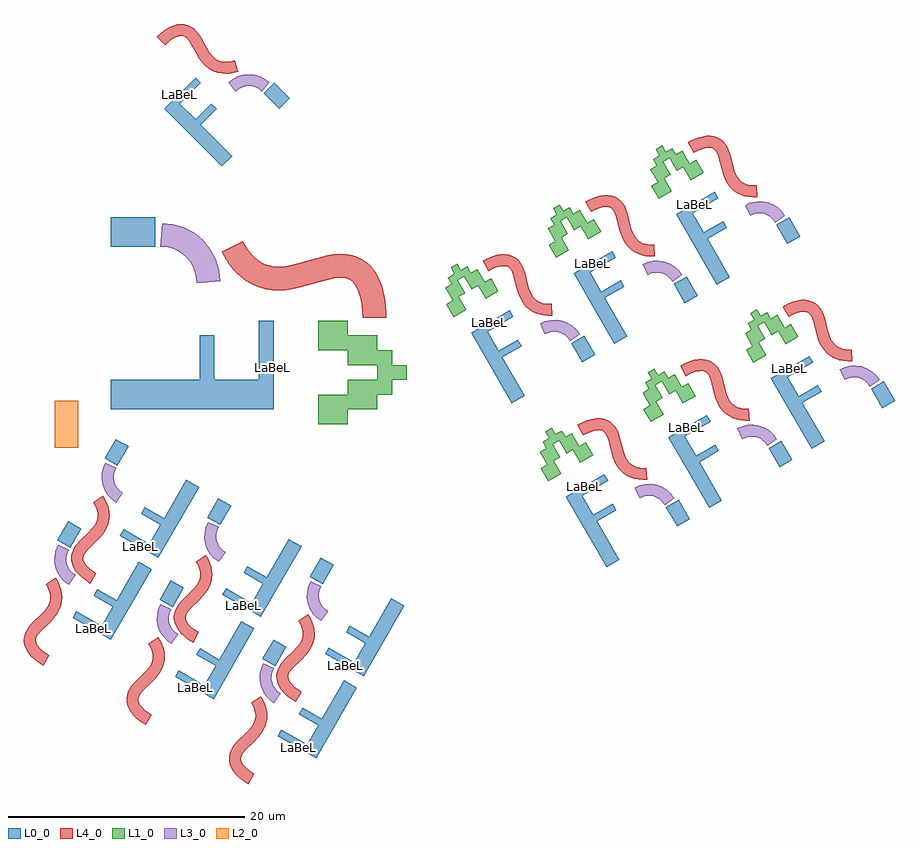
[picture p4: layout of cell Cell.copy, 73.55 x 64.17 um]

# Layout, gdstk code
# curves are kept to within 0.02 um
import gdstk
lib = gdstk.Library(unit=1e-6, precision=1e-12)
def R(c, l, rs):  # rectangles x0, y0, x1, y1
    for r in rs: c.add(gdstk.rectangle(r[:2], r[2:], *l))
def P(c, l, *ps):  # polygons
    for p in ps: c.add(gdstk.Polygon(p, *l))
L0_0 = (0, 0)
L1_0 = (1, 0)
L2_0 = (2, 0)
L3_0 = (3, 0)
L4_0 = (4, 0)

cell_copy = lib.new_cell('Cell.copy')
R(cell_copy, L0_0, [(-6.25,5,-2.5,7.5)])
P(cell_copy, L0_0, [(-6.25,-6.25),(1.25,-6.25),(1.25,-2.5),(2.5,-2.5),(2.5,-6.25),(6.25,-6.25),(6.25,-1.25),(7.5,-1.25),(7.5,-8.75),(-6.25,-8.75)],
  [(36.6863,-21.4387),(34.8113,-18.1911),(36.4351,-17.2536),(36.1226,-16.7123),(34.4988,-17.6498),(33.5613,-16.026),(35.7264,-14.776),(35.4139,-14.2348),(32.1663,-16.1098),(35.6038,-22.0637)],
  [(28.6863,-7.5823),(26.8113,-4.3347),(28.4351,-3.3972),(28.1226,-2.8559),(26.4988,-3.7934),(25.5613,-2.1696),(27.7264,-0.9196),(27.4139,-0.3784),(24.1663,-2.2534),(27.6038,-8.2073)],
  [(45.3466,-16.4387),(43.4716,-13.1911),(45.0953,-12.2536),(44.7828,-11.7123),(43.1591,-12.6498),(42.2216,-11.026),(44.3866,-9.776),(44.0741,-9.2348),(40.8265,-11.1098),(44.264,-17.0637)],
  [(37.3466,-2.5823),(35.4716,0.6653),(37.0953,1.6028),(36.7828,2.1441),(35.1591,1.2066),(34.2216,2.8304),(36.3866,4.0804),(36.0741,4.6216),(32.8265,2.7466),(36.264,-3.2073)],
  [(54.0068,-11.4387),(52.1318,-8.1911),(53.7556,-7.2536),(53.4431,-6.7123),(51.8193,-7.6498),(50.8818,-6.026),(53.0469,-4.776),(52.7344,-4.2348),(49.4868,-6.1098),(52.9243,-12.0637)],
  [(46.0068,2.4177),(44.1318,5.6653),(45.7556,6.6028),(45.4431,7.1441),(43.8193,6.2066),(42.8818,7.8304),(45.0469,9.0804),(44.7344,9.6216),(41.4868,7.7466),(44.9243,1.7927)],
  [(42.6402,-18.0012),(41.7027,-16.3774),(40.6202,-17.0024),(41.5577,-18.6262)],
  [(34.6402,-4.1448),(33.7027,-2.521),(32.6202,-3.146),(33.5577,-4.7698)],
  [(51.3005,-13.0012),(50.363,-11.3774),(49.2804,-12.0024),(50.2179,-13.6262)],
  [(43.3005,0.8552),(42.363,2.479),(41.2804,1.854),(42.2179,0.2302)],
  [(59.9607,-8.0012),(59.0232,-6.3774),(57.9407,-7.0024),(58.8782,-8.6262)],
  [(51.9607,5.8552),(51.0232,7.479),(49.9407,6.854),(50.8782,5.2302)],
  [(17.4387,-24.6863),(15.5637,-27.9339),(13.9399,-26.9964),(13.6274,-27.5377),(15.2512,-28.4752),(14.3137,-30.099),(12.1486,-28.849),(11.8361,-29.3902),(15.0837,-31.2652),(18.5212,-25.3113)],
  [(13.4387,-31.6145),(11.5637,-34.8621),(9.9399,-33.9246),(9.6274,-34.4659),(11.2512,-35.4034),(10.3137,-37.0272),(8.1486,-35.7772),(7.8361,-36.3184),(11.0837,-38.1934),(14.5212,-32.2395)],
  [(8.7784,-19.6863),(6.9034,-22.9339),(5.2797,-21.9964),(4.9672,-22.5377),(6.5909,-23.4752),(5.6534,-25.099),(3.4884,-23.849),(3.1759,-24.3902),(6.4235,-26.2652),(9.861,-20.3113)],
  [(4.7784,-26.6145),(2.9034,-29.8621),(1.2797,-28.9246),(0.9672,-29.4659),(2.5909,-30.4034),(1.6534,-32.0272),(-0.5116,-30.7772),(-0.8241,-31.3184),(2.4235,-33.1934),(5.861,-27.2395)],
  [(0.1182,-14.6863),(-1.7568,-17.9339),(-3.3806,-16.9964),(-3.6931,-17.5377),(-2.0693,-18.4752),(-3.0068,-20.099),(-5.1719,-18.849),(-5.4844,-19.3902),(-2.2368,-21.2652),(1.2007,-15.3113)],
  [(-3.8818,-21.6145),(-5.7568,-24.8621),(-7.3806,-23.9246),(-7.6931,-24.4659),(-6.0693,-25.4034),(-7.0068,-27.0272),(-9.1719,-25.7772),(-9.4844,-26.3184),(-6.2368,-28.1934),(-2.7993,-22.2395)],
  [(11.4848,-21.2488),(10.5473,-22.8726),(11.6298,-23.4976),(12.5673,-21.8738)],
  [(7.4848,-28.177),(6.5473,-29.8008),(7.6298,-30.4258),(8.5673,-28.802)],
  [(2.8245,-16.2488),(1.887,-17.8726),(2.9696,-18.4976),(3.9071,-16.8738)],
  [(-1.1755,-23.177),(-2.113,-24.8008),(-1.0304,-25.4258),(-0.0929,-23.802)],
  [(-5.8357,-11.2488),(-6.7732,-12.8726),(-5.6907,-13.4976),(-4.7532,-11.8738)],
  [(-9.8357,-18.177),(-10.7732,-19.8008),(-9.6907,-20.4258),(-8.7532,-18.802)],
  [(4,12.6517),(1.3483,15.3033),(2.6742,16.6291),(2.2322,17.0711),(0.9064,15.7452),(-0.4194,17.0711),(1.3483,18.8388),(0.9064,19.2808),(-1.7452,16.6291),(3.1161,11.7678)],
  [(8.8614,17.513),(7.5355,18.8388),(6.6517,17.955),(7.9775,16.6291)])
P(cell_copy, L1_0, [(16.25,-7.5),(16.25,-8.75),(13.75,-8.75),(13.75,-10),(11.25,-10),(11.25,-7.5),(13.75,-7.5),(13.75,-6.25),(16.25,-6.25),(16.25,-5),(13.75,-5),(13.75,-3.75),(11.25,-3.75),(11.25,-1.25),(13.75,-1.25),(13.75,-2.5),(16.25,-2.5),(16.25,-3.75),(17.5,-3.75),(17.5,-5),(18.75,-5),(18.75,-6.25),(17.5,-6.25),(17.5,-7.5)],
  [(30.52,-12.0084),(29.9788,-12.3209),(30.6038,-13.4034),(30.0625,-13.7159),(30.6875,-14.7985),(31.77,-14.1735),(31.145,-13.0909),(31.6863,-12.7784),(31.0613,-11.6959),(31.6026,-11.3834),(32.2276,-12.4659),(32.7688,-12.1534),(33.3938,-13.236),(34.4764,-12.611),(33.8514,-11.5284),(33.3101,-11.8409),(32.6851,-10.7584),(32.1438,-11.0709),(31.8313,-10.5297),(31.2901,-10.8422),(30.9776,-10.3009),(30.4363,-10.6134),(30.7488,-11.1547),(30.2075,-11.4672)],
  [(22.52,1.848),(21.9788,1.5355),(22.6038,0.453),(22.0625,0.1405),(22.6875,-0.9421),(23.77,-0.3171),(23.145,0.7655),(23.6863,1.078),(23.0613,2.1605),(23.6026,2.473),(24.2276,1.3905),(24.7688,1.703),(25.3938,0.6204),(26.4764,1.2454),(25.8514,2.328),(25.3101,2.0155),(24.6851,3.098),(24.1438,2.7855),(23.8313,3.3268),(23.2901,3.0143),(22.9776,3.5555),(22.4363,3.243),(22.7488,2.7018),(22.2075,2.3893)],
  [(39.1803,-7.0084),(38.639,-7.3209),(39.264,-8.4034),(38.7228,-8.7159),(39.3478,-9.7985),(40.4303,-9.1735),(39.8053,-8.0909),(40.3466,-7.7784),(39.7216,-6.6959),(40.2628,-6.3834),(40.8878,-7.4659),(41.4291,-7.1534),(42.0541,-8.236),(43.1366,-7.611),(42.5116,-6.5284),(41.9703,-6.8409),(41.3453,-5.7584),(40.8041,-6.0709),(40.4916,-5.5297),(39.9503,-5.8422),(39.6378,-5.3009),(39.0966,-5.6134),(39.4091,-6.1547),(38.8678,-6.4672)],
  [(31.1803,6.848),(30.639,6.5355),(31.264,5.453),(30.7228,5.1405),(31.3478,4.0579),(32.4303,4.6829),(31.8053,5.7655),(32.3466,6.078),(31.7216,7.1605),(32.2628,7.473),(32.8878,6.3905),(33.4291,6.703),(34.0541,5.6204),(35.1366,6.2454),(34.5116,7.328),(33.9703,7.0155),(33.3453,8.098),(32.8041,7.7855),(32.4916,8.3268),(31.9503,8.0143),(31.6378,8.5555),(31.0966,8.243),(31.4091,7.7018),(30.8678,7.3893)],
  [(47.8405,-2.0084),(47.2993,-2.3209),(47.9243,-3.4034),(47.383,-3.7159),(48.008,-4.7985),(49.0905,-4.1735),(48.4655,-3.0909),(49.0068,-2.7784),(48.3818,-1.6959),(48.9231,-1.3834),(49.5481,-2.4659),(50.0893,-2.1534),(50.7143,-3.236),(51.7969,-2.611),(51.1719,-1.5284),(50.6306,-1.8409),(50.0056,-0.7584),(49.4643,-1.0709),(49.1518,-0.5297),(48.6106,-0.8422),(48.2981,-0.3009),(47.7568,-0.6134),(48.0693,-1.1547),(47.528,-1.4672)],
  [(39.8405,11.848),(39.2993,11.5355),(39.9243,10.453),(39.383,10.1405),(40.008,9.0579),(41.0905,9.6829),(40.4655,10.7655),(41.0068,11.078),(40.3818,12.1605),(40.9231,12.473),(41.5481,11.3905),(42.0893,11.703),(42.7143,10.6204),(43.7969,11.2454),(43.1719,12.328),(42.6306,12.0155),(42.0056,13.098),(41.4643,12.7855),(41.1518,13.3268),(40.6106,13.0143),(40.2981,13.5555),(39.7568,13.243),(40.0693,12.7018),(39.528,12.3893)])
R(cell_copy, L2_0, [(-11,-12,-9,-8)])
P(cell_copy, L3_0, [(-1.902,6.9952),(-2.098,5.0048),(-1.4157,4.9376),(-0.8538,4.7672),(-0.336,4.4904),(0.1179,4.1179),(0.4904,3.664),(0.7672,3.1462),(0.9376,2.5843),(1.0048,1.902),(2.9952,2.098),(2.9087,2.9764),(2.6239,3.9153),(2.1614,4.7805),(1.539,5.539),(0.7805,6.1614),(-0.0847,6.6239),(-1.0236,6.9087)],
  [(40.5218,-16.8271),(41.3346,-16.2447),(41.0776,-15.8859),(40.7195,-15.5506),(40.3029,-15.2915),(39.8438,-15.1187),(39.3598,-15.0388),(38.8695,-15.0549),(38.3918,-15.1663),(37.9898,-15.3484),(38.4025,-16.2593),(38.7148,-16.1178),(39.0007,-16.0511),(39.2941,-16.0415),(39.5838,-16.0893),(39.8585,-16.1928),(40.1078,-16.3478),(40.3221,-16.5485)],
  [(32.5218,-2.9707),(33.3346,-2.3883),(33.0776,-2.0295),(32.7195,-1.6942),(32.3029,-1.4351),(31.8438,-1.2623),(31.3598,-1.1824),(30.8695,-1.1985),(30.3918,-1.3099),(29.9898,-1.492),(30.4025,-2.4029),(30.7148,-2.2614),(31.0007,-2.1947),(31.2941,-2.1851),(31.5838,-2.2329),(31.8585,-2.3364),(32.1078,-2.4914),(32.3221,-2.6921)],
  [(49.182,-11.8271),(49.9949,-11.2447),(49.7378,-10.8859),(49.3798,-10.5506),(48.9632,-10.2915),(48.5041,-10.1187),(48.0201,-10.0388),(47.5298,-10.0549),(47.052,-10.1663),(46.6501,-10.3484),(47.0628,-11.2593),(47.375,-11.1178),(47.6609,-11.0511),(47.9544,-11.0415),(48.244,-11.0893),(48.5188,-11.1928),(48.7681,-11.3478),(48.9823,-11.5485)],
  [(41.182,2.0293),(41.9949,2.6117),(41.7378,2.9705),(41.3798,3.3058),(40.9632,3.5649),(40.5041,3.7377),(40.0201,3.8176),(39.5298,3.8015),(39.052,3.6901),(38.6501,3.508),(39.0628,2.5971),(39.375,2.7386),(39.6609,2.8053),(39.9544,2.8149),(40.244,2.7671),(40.5188,2.6636),(40.7681,2.5086),(40.9823,2.3079)],
  [(57.8423,-6.8271),(58.6551,-6.2447),(58.3981,-5.8859),(58.04,-5.5506),(57.6235,-5.2915),(57.1643,-5.1187),(56.6803,-5.0388),(56.19,-5.0549),(55.7123,-5.1663),(55.3103,-5.3484),(55.723,-6.2593),(56.0353,-6.1178),(56.3212,-6.0511),(56.6146,-6.0415),(56.9043,-6.0893),(57.179,-6.1928),(57.4283,-6.3478),(57.6426,-6.5485)],
  [(49.8423,7.0293),(50.6551,7.6117),(50.3981,7.9705),(50.04,8.3058),(49.6235,8.5649),(49.1643,8.7377),(48.6803,8.8176),(48.19,8.8015),(47.7123,8.6901),(47.3103,8.508),(47.723,7.5971),(48.0353,7.7386),(48.3212,7.8053),(48.6146,7.8149),(48.9043,7.7671),(49.179,7.6636),(49.4283,7.5086),(49.6426,7.3079)],
  [(11.5272,-23.6705),(10.6164,-23.2577),(10.4342,-23.6597),(10.3228,-24.1375),(10.3068,-24.6278),(10.3867,-25.1118),(10.5595,-25.5709),(10.8185,-25.9875),(11.1539,-26.3455),(11.5126,-26.6026),(12.0951,-25.7897),(11.8164,-25.59),(11.6157,-25.3758),(11.4607,-25.1265),(11.3573,-24.8517),(11.3095,-24.562),(11.3191,-24.2686),(11.3857,-23.9827)],
  [(7.5272,-30.5987),(6.6164,-30.186),(6.4342,-30.5879),(6.3228,-31.0657),(6.3068,-31.556),(6.3867,-32.04),(6.5595,-32.4991),(6.8185,-32.9157),(7.1539,-33.2737),(7.5126,-33.5308),(8.0951,-32.7179),(7.8164,-32.5182),(7.6157,-32.304),(7.4607,-32.0547),(7.3573,-31.7799),(7.3095,-31.4903),(7.3191,-31.1968),(7.3857,-30.9109)],
  [(2.867,-18.6705),(1.9561,-18.2577),(1.774,-18.6597),(1.6626,-19.1375),(1.6465,-19.6278),(1.7264,-20.1118),(1.8992,-20.5709),(2.1583,-20.9875),(2.4936,-21.3455),(2.8524,-21.6026),(3.4348,-20.7897),(3.1562,-20.59),(2.9555,-20.3758),(2.8005,-20.1265),(2.697,-19.8517),(2.6492,-19.562),(2.6588,-19.2686),(2.7255,-18.9827)],
  [(-1.133,-25.5987),(-2.0439,-25.186),(-2.226,-25.5879),(-2.3374,-26.0657),(-2.3535,-26.556),(-2.2736,-27.04),(-2.1008,-27.4991),(-1.8417,-27.9157),(-1.5064,-28.2737),(-1.1476,-28.5308),(-0.5652,-27.7179),(-0.8438,-27.5182),(-1.0445,-27.304),(-1.1995,-27.0547),(-1.303,-26.7799),(-1.3508,-26.4903),(-1.3412,-26.1968),(-1.2745,-25.9109)],
  [(-5.7933,-13.6705),(-6.7041,-13.2577),(-6.8863,-13.6597),(-6.9977,-14.1375),(-7.0137,-14.6278),(-6.9338,-15.1118),(-6.761,-15.5709),(-6.502,-15.9875),(-6.1666,-16.3455),(-5.8079,-16.6026),(-5.2254,-15.7897),(-5.5041,-15.59),(-5.7048,-15.3758),(-5.8598,-15.1265),(-5.9632,-14.8517),(-6.011,-14.562),(-6.0014,-14.2686),(-5.9348,-13.9827)],
  [(-9.7933,-20.5987),(-10.7041,-20.186),(-10.8863,-20.5879),(-10.9977,-21.0657),(-11.0137,-21.556),(-10.9338,-22.04),(-10.761,-22.4991),(-10.502,-22.9157),(-10.1666,-23.2737),(-9.8079,-23.5308),(-9.2254,-22.7179),(-9.5041,-22.5182),(-9.7048,-22.304),(-9.8598,-22.0547),(-9.9632,-21.7799),(-10.011,-21.4903),(-10.0014,-21.1968),(-9.9348,-20.9109)],
  [(6.5112,18.0988),(7.1456,18.8718),(6.8045,19.1518),(6.3718,19.383),(5.9024,19.5254),(5.4142,19.5735),(4.926,19.5254),(4.4566,19.383),(4.0239,19.1518),(3.6828,18.8718),(4.3172,18.0988),(4.5822,18.3163),(4.8411,18.4547),(5.122,18.5399),(5.4142,18.5686),(5.7064,18.5399),(5.9873,18.4547),(6.2462,18.3163)])
P(cell_copy, L4_0, [(3.4871,3.8772),(3.6952,3.5687),(4.143,3.0105),(4.3816,2.7611),(4.8848,2.3223),(5.148,2.1333),(5.693,1.8161),(6.2559,1.5797),(6.8274,1.4208),(7.3983,1.3336),(7.9613,1.3095),(8.5113,1.3382),(9.5624,1.5117),(12.2642,2.2673),(12.6317,2.3395),(13.2622,2.3856),(13.7389,2.3),(13.9337,2.2094),(14.1178,2.0771),(14.3016,1.8842),(14.4854,1.609),(14.6602,1.2337),(14.8123,0.7464),(14.9274,0.1403),(15,-1.0001),(17,-0.9999),(16.9588,-0.0322),(16.8399,0.8334),(16.6483,1.6031),(16.3863,2.2821),(16.0545,2.8729),(15.6538,3.373),(15.1908,3.7754),(14.9404,3.9375),(14.4153,4.1821),(14.1464,4.2659),(13.6079,4.3647),(13.0787,4.3865),(12.5643,4.3495),(11.5802,4.1597),(9.7566,3.627),(8.9152,3.4185),(8.1323,3.3151),(7.4139,3.3461),(7.0756,3.4181),(6.7466,3.5322),(6.423,3.6935),(6.1024,3.909),(5.785,4.186),(5.4738,4.5316),(5.1745,4.9508),(4.8944,5.4474),(3.1056,4.5526)],
  [(38.6803,-13.6915),(38.4239,-13.6667),(37.9972,-13.5502),(37.673,-13.3655),(37.4255,-13.123),(37.2325,-12.8197),(37.0816,-12.4549),(36.7363,-11.1155),(36.5724,-10.642),(36.3181,-10.1863),(36.1407,-9.9778),(35.9235,-9.7946),(35.6672,-9.6482),(35.3772,-9.5483),(35.0605,-9.4999),(34.7217,-9.5038),(34.3622,-9.5602),(33.981,-9.6696),(33.5765,-9.8345),(33.1472,-10.0586),(33.6471,-10.9247),(34.3098,-10.614),(34.8077,-10.5001),(34.993,-10.4976),(35.2543,-10.559),(35.5101,-10.7755),(35.6529,-11.035),(35.7743,-11.3885),(36.1345,-12.7759),(36.3413,-13.2732),(36.6445,-13.7475),(36.8404,-13.9647),(37.3264,-14.3328),(37.6145,-14.4741),(37.9303,-14.5823),(38.2718,-14.6551),(38.6372,-14.6906),(39.0251,-14.6869),(38.9653,-13.6887)],
  [(30.6803,0.1649),(30.4239,0.1897),(29.9972,0.3062),(29.673,0.4909),(29.4255,0.7334),(29.2325,1.0367),(29.0816,1.4015),(28.7363,2.7409),(28.5724,3.2144),(28.3181,3.6701),(28.1407,3.8786),(27.9235,4.0618),(27.6672,4.2082),(27.3772,4.3081),(27.0605,4.3565),(26.7217,4.3526),(26.3622,4.2962),(25.981,4.1868),(25.5765,4.0219),(25.1472,3.7978),(25.6471,2.9317),(26.3098,3.2424),(26.8077,3.3563),(26.993,3.3588),(27.2543,3.2974),(27.5101,3.0809),(27.6529,2.8214),(27.7743,2.4679),(28.1345,1.0805),(28.3413,0.5832),(28.6445,0.1089),(28.8404,-0.1083),(29.3264,-0.4764),(29.6145,-0.6177),(29.9303,-0.7259),(30.2718,-0.7987),(30.6372,-0.8342),(31.0251,-0.8305),(30.9653,0.1677)],
  [(47.3405,-8.6915),(47.0841,-8.6667),(46.6574,-8.5502),(46.3332,-8.3655),(46.0858,-8.123),(45.8928,-7.8197),(45.7418,-7.4549),(45.3965,-6.1155),(45.2327,-5.642),(44.9784,-5.1863),(44.801,-4.9778),(44.5838,-4.7946),(44.3275,-4.6482),(44.0375,-4.5483),(43.7208,-4.4999),(43.382,-4.5038),(43.0225,-4.5602),(42.6413,-4.6696),(42.2367,-4.8345),(41.8074,-5.0586),(42.3073,-5.9247),(42.9701,-5.614),(43.468,-5.5001),(43.6532,-5.4976),(43.9146,-5.559),(44.1704,-5.7755),(44.3131,-6.035),(44.4345,-6.3885),(44.7948,-7.7759),(45.0015,-8.2732),(45.3047,-8.7475),(45.5006,-8.9647),(45.9866,-9.3328),(46.2748,-9.4741),(46.5906,-9.5823),(46.932,-9.6551),(47.2975,-9.6906),(47.6853,-9.6869),(47.6256,-8.6887)],
  [(39.3405,5.1649),(39.0841,5.1897),(38.6574,5.3062),(38.3332,5.4909),(38.0858,5.7334),(37.8928,6.0367),(37.7418,6.4015),(37.3965,7.7409),(37.2327,8.2144),(36.9784,8.6701),(36.801,8.8786),(36.5838,9.0618),(36.3275,9.2082),(36.0375,9.3081),(35.7208,9.3565),(35.382,9.3526),(35.0225,9.2962),(34.6413,9.1868),(34.2367,9.0219),(33.8074,8.7978),(34.3073,7.9317),(34.9701,8.2424),(35.468,8.3563),(35.6532,8.3588),(35.9146,8.2974),(36.1704,8.0809),(36.3131,7.8214),(36.4345,7.4679),(36.7948,6.0805),(37.0015,5.5832),(37.3047,5.1089),(37.5006,4.8917),(37.9866,4.5236),(38.2748,4.3823),(38.5906,4.2741),(38.932,4.2013),(39.2975,4.1658),(39.6853,4.1695),(39.6256,5.1677)],
  [(56.0008,-3.6915),(55.7444,-3.6667),(55.3177,-3.5502),(54.9935,-3.3655),(54.746,-3.123),(54.553,-2.8197),(54.4021,-2.4549),(54.0568,-1.1155),(53.8929,-0.642),(53.6386,-0.1863),(53.4612,0.0222),(53.244,0.2054),(52.9877,0.3518),(52.6977,0.4517),(52.381,0.5001),(52.0422,0.4962),(51.6827,0.4398),(51.3015,0.3304),(50.897,0.1655),(50.4677,-0.0586),(50.9676,-0.9247),(51.6303,-0.614),(52.1282,-0.5001),(52.3135,-0.4976),(52.5748,-0.559),(52.8306,-0.7755),(52.9734,-1.035),(53.0948,-1.3885),(53.455,-2.7759),(53.6618,-3.2732),(53.965,-3.7475),(54.1609,-3.9647),(54.6469,-4.3328),(54.935,-4.4741),(55.2508,-4.5823),(55.5923,-4.6551),(55.9577,-4.6906),(56.3456,-4.6869),(56.2858,-3.6887)],
  [(48.0008,10.1649),(47.7444,10.1897),(47.3177,10.3062),(46.9935,10.4909),(46.746,10.7334),(46.553,11.0367),(46.4021,11.4015),(46.0568,12.7409),(45.8929,13.2144),(45.6386,13.6701),(45.4612,13.8786),(45.244,14.0618),(44.9877,14.2082),(44.6977,14.3081),(44.381,14.3565),(44.0422,14.3526),(43.6827,14.2962),(43.3015,14.1868),(42.897,14.0219),(42.4677,13.7978),(42.9676,12.9317),(43.6303,13.2424),(44.1282,13.3563),(44.3135,13.3588),(44.5748,13.2974),(44.8306,13.0809),(44.9734,12.8214),(45.0948,12.4679),(45.455,11.0805),(45.6618,10.5832),(45.965,10.1089),(46.1609,9.8917),(46.6469,9.5236),(46.935,9.3823),(47.2508,9.2741),(47.5923,9.2013),(47.9577,9.1658),(48.3456,9.1695),(48.2858,10.1677)],
  [(9.7325,-26.8331),(9.8392,-27.0675),(9.9516,-27.4953),(9.9537,-27.8684),(9.8675,-28.2039),(9.7013,-28.5227),(9.4608,-28.8359),(8.4736,-29.8046),(8.1454,-30.1833),(7.8779,-30.6313),(7.7861,-30.8892),(7.736,-31.1689),(7.7374,-31.4641),(7.7959,-31.7652),(7.9123,-32.0637),(8.0851,-32.3551),(8.3136,-32.6383),(8.599,-32.9137),(8.9441,-33.1816),(9.3528,-33.4413),(9.8529,-32.5754),(9.2525,-32.1567),(8.9049,-31.7825),(8.8101,-31.6233),(8.7326,-31.3663),(8.7922,-31.0365),(8.9455,-30.7831),(9.191,-30.5012),(10.2124,-29.4955),(10.5397,-29.0679),(10.7988,-28.5681),(10.889,-28.2898),(10.9648,-27.6849),(10.9431,-27.3647),(10.8789,-27.0371),(10.7712,-26.705),(10.6192,-26.3708),(10.4221,-26.0367),(9.5875,-26.5876)],
  [(5.7325,-33.7613),(5.8392,-33.9957),(5.9516,-34.4235),(5.9537,-34.7967),(5.8675,-35.1321),(5.7013,-35.451),(5.4608,-35.7641),(4.4736,-36.7328),(4.1454,-37.1115),(3.8779,-37.5595),(3.7861,-37.8174),(3.736,-38.0971),(3.7374,-38.3923),(3.7959,-38.6934),(3.9123,-38.9919),(4.0851,-39.2833),(4.3136,-39.5665),(4.599,-39.8419),(4.9441,-40.1098),(5.3528,-40.3695),(5.8529,-39.5036),(5.2525,-39.0849),(4.9049,-38.7107),(4.8101,-38.5515),(4.7326,-38.2945),(4.7922,-37.9647),(4.9455,-37.7113),(5.191,-37.4294),(6.2124,-36.4237),(6.5397,-35.9961),(6.7988,-35.4963),(6.889,-35.218),(6.9648,-34.6131),(6.9431,-34.2929),(6.8789,-33.9653),(6.7712,-33.6332),(6.6192,-33.299),(6.4221,-32.965),(5.5875,-33.5158)],
  [(1.0722,-21.8331),(1.1789,-22.0675),(1.2914,-22.4953),(1.2935,-22.8684),(1.2072,-23.2039),(1.0411,-23.5227),(0.8006,-23.8359),(-0.1867,-24.8046),(-0.5148,-25.1833),(-0.7823,-25.6313),(-0.8742,-25.8892),(-0.9243,-26.1689),(-0.9229,-26.4641),(-0.8644,-26.7652),(-0.748,-27.0637),(-0.5752,-27.3551),(-0.3466,-27.6383),(-0.0612,-27.9137),(0.2839,-28.1816),(0.6926,-28.4413),(1.1927,-27.5754),(0.5922,-27.1567),(0.2447,-26.7825),(0.1498,-26.6233),(0.0723,-26.3663),(0.1319,-26.0365),(0.2853,-25.7831),(0.5307,-25.5012),(1.5521,-24.4955),(1.8794,-24.0679),(2.1386,-23.5681),(2.2288,-23.2898),(2.3045,-22.6849),(2.2828,-22.3647),(2.2186,-22.0371),(2.1109,-21.705),(1.9589,-21.3708),(1.7619,-21.0367),(0.9273,-21.5876)],
  [(-2.9278,-28.7613),(-2.8211,-28.9957),(-2.7086,-29.4235),(-2.7065,-29.7967),(-2.7928,-30.1321),(-2.9589,-30.451),(-3.1994,-30.7641),(-4.1867,-31.7328),(-4.5148,-32.1115),(-4.7823,-32.5595),(-4.8742,-32.8174),(-4.9243,-33.0971),(-4.9229,-33.3923),(-4.8644,-33.6934),(-4.748,-33.9919),(-4.5752,-34.2833),(-4.3466,-34.5665),(-4.0612,-34.8419),(-3.7161,-35.1098),(-3.3074,-35.3695),(-2.8073,-34.5036),(-3.4078,-34.0849),(-3.7553,-33.7107),(-3.8502,-33.5515),(-3.9277,-33.2945),(-3.8681,-32.9647),(-3.7147,-32.7113),(-3.4693,-32.4294),(-2.4479,-31.4237),(-2.1206,-30.9961),(-1.8614,-30.4963),(-1.7712,-30.218),(-1.6955,-29.6131),(-1.7172,-29.2929),(-1.7814,-28.9653),(-1.8891,-28.6332),(-2.041,-28.299),(-2.2381,-27.965),(-3.0727,-28.5158)],
  [(-7.588,-16.8331),(-7.4813,-17.0675),(-7.3689,-17.4953),(-7.3668,-17.8684),(-7.453,-18.2039),(-7.6192,-18.5227),(-7.8597,-18.8359),(-8.8469,-19.8046),(-9.1751,-20.1833),(-9.4426,-20.6313),(-9.5344,-20.8892),(-9.5845,-21.1689),(-9.5831,-21.4641),(-9.5246,-21.7652),(-9.4082,-22.0637),(-9.2354,-22.3551),(-9.0069,-22.6383),(-8.7215,-22.9137),(-8.3764,-23.1816),(-7.9677,-23.4413),(-7.4676,-22.5754),(-8.068,-22.1567),(-8.4156,-21.7825),(-8.5104,-21.6233),(-8.5879,-21.3663),(-8.5283,-21.0365),(-8.375,-20.7831),(-8.1295,-20.5012),(-7.1081,-19.4955),(-6.7808,-19.0679),(-6.5217,-18.5681),(-6.4315,-18.2898),(-6.3557,-17.6849),(-6.3774,-17.3647),(-6.4416,-17.0371),(-6.5493,-16.705),(-6.7013,-16.3708),(-6.8984,-16.0367),(-7.733,-16.5876)],
  [(-11.588,-23.7613),(-11.4813,-23.9957),(-11.3689,-24.4235),(-11.3668,-24.7967),(-11.453,-25.1321),(-11.6192,-25.451),(-11.8597,-25.7641),(-12.8469,-26.7328),(-13.1751,-27.1115),(-13.4426,-27.5595),(-13.5344,-27.8174),(-13.5845,-28.0971),(-13.5831,-28.3923),(-13.5246,-28.6934),(-13.4082,-28.9919),(-13.2354,-29.2833),(-13.0069,-29.5665),(-12.7215,-29.8419),(-12.3764,-30.1098),(-11.9677,-30.3695),(-11.4676,-29.5036),(-12.068,-29.0849),(-12.4156,-28.7107),(-12.5104,-28.5515),(-12.5879,-28.2945),(-12.5283,-27.9647),(-12.375,-27.7113),(-12.1295,-27.4294),(-11.1081,-26.4237),(-10.7808,-25.9961),(-10.5217,-25.4963),(-10.4315,-25.218),(-10.3557,-24.6131),(-10.3774,-24.2929),(-10.4416,-23.9653),(-10.5493,-23.6332),(-10.7013,-23.299),(-10.8984,-22.965),(-11.733,-23.5158)],
  [(3.9209,20.6509),(3.6669,20.6085),(3.2245,20.6106),(2.8635,20.7052),(2.5618,20.8753),(2.2969,21.1183),(2.0566,21.4317),(1.3765,22.636),(1.0956,23.051),(0.732,23.4253),(0.5067,23.5808),(0.2495,23.7016),(-0.0359,23.7766),(-0.3419,23.7981),(-0.6604,23.7629),(-0.9866,23.6714),(-1.3193,23.5239),(-1.6592,23.3195),(-2.0072,23.0555),(-2.3639,22.728),(-1.6569,22.0208),(-1.0971,22.4924),(-0.6457,22.7313),(-0.4674,22.7817),(-0.1991,22.79),(0.1041,22.6471),(0.3091,22.4334),(0.5179,22.1233),(1.2249,20.8765),(1.5533,20.4497),(1.969,20.07),(2.2144,19.9108),(2.7791,19.6811),(3.094,19.6192),(3.4271,19.5964),(3.7757,19.6145),(4.1379,19.6748),(4.5116,19.7787),(4.1955,20.7274)])
cell_copy.add(gdstk.Label('LaBeL', (7.4,-5.2), layer=0, texttype=0))
cell_copy.add(gdstk.Label('LaBeL', (33.7285,-15.2656), layer=0, texttype=0))
cell_copy.add(gdstk.Label('LaBeL', (25.7285,-1.4092), layer=0, texttype=0))
cell_copy.add(gdstk.Label('LaBeL', (42.3887,-10.2656), layer=0, texttype=0))
cell_copy.add(gdstk.Label('LaBeL', (34.3887,3.5908), layer=0, texttype=0))
cell_copy.add(gdstk.Label('LaBeL', (51.049,-5.2656), layer=0, texttype=0))
cell_copy.add(gdstk.Label('LaBeL', (43.049,8.5908), layer=0, texttype=0))
cell_copy.add(gdstk.Label('LaBeL', (13.5715,-30.3344), layer=0, texttype=0))
cell_copy.add(gdstk.Label('LaBeL', (9.5715,-37.2626), layer=0, texttype=0))
cell_copy.add(gdstk.Label('LaBeL', (4.9113,-25.3344), layer=0, texttype=0))
cell_copy.add(gdstk.Label('LaBeL', (0.9113,-32.2626), layer=0, texttype=0))
cell_copy.add(gdstk.Label('LaBeL', (-3.749,-20.3344), layer=0, texttype=0))
cell_copy.add(gdstk.Label('LaBeL', (-7.749,-27.2626), layer=0, texttype=0))
cell_copy.add(gdstk.Label('LaBeL', (-0.4548,17.8489), layer=0, texttype=0))

lib.write_gds('Cell.copy.gds')
